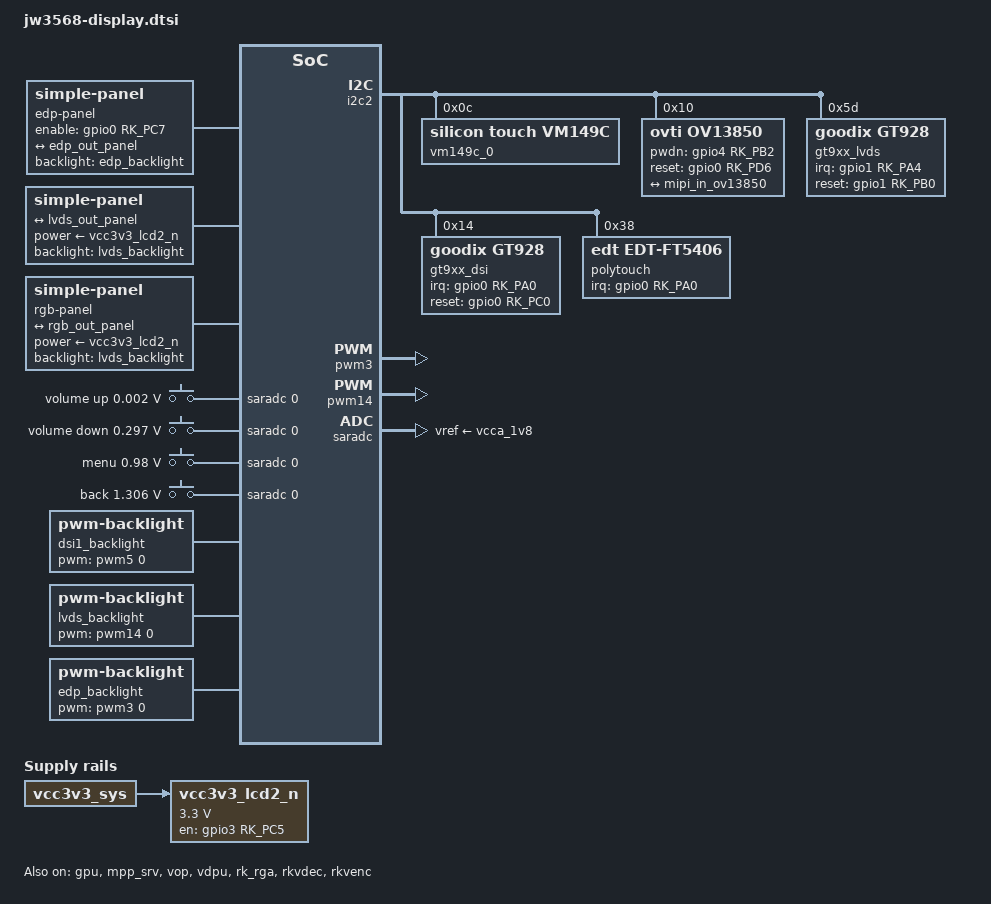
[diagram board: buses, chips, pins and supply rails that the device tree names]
/{
	vcc3v3_lcd2_n: vcc3v3-lcd2-n {
		compatible = "regulator-fixed";
		regulator-name = "vcc3v3_lcd2_n";
		regulator-boot-on;
		regulator-min-microvolt = <3300000>;
		regulator-max-microvolt = <3300000>;
		enable-active-high;
		gpio = <&gpio3 RK_PC5 GPIO_ACTIVE_HIGH>;
		vin-supply = <&vcc3v3_sys>;
		
		regulator-state-mem {
			regulator-off-in-suspend;
		};
	};

	forlinx_control {
		status = "disabled";
		video-hdmi = "hdmi";
		video-mipi-edp = "mipi";
		video-lvds-rgb = "lvds";
	};

	edp-panel {
		compatible = "simple-panel";
		prepare-delay-ms = <120>;
		enable-delay-ms = <120>;
		unprepare-delay-ms = <120>;
		disable-delay-ms = <120>;
		backlight = <&edp_backlight>;
		enable-gpios = <&gpio0 RK_PC7 GPIO_ACTIVE_HIGH>;

		port {
			panel_in_edp: endpoint {
				remote-endpoint = <&edp_out_panel>;
			};
		};
	};

	panel {
		compatible = "simple-panel";
		backlight = <&lvds_backlight>;
		power-supply = <&vcc3v3_lcd2_n>;
		enable-delay-ms = <20>;
		prepare-delay-ms = <20>;
		unprepare-delay-ms = <20>;
		disable-delay-ms = <20>;
		bus-format = <MEDIA_BUS_FMT_RGB888_1X7X4_SPWG>;
		width-mm = <152>;
		height-mm = <91>;

		display-timings {
			native-mode = <&timing0>;

			timing0: timing0 {
				clock-frequency = <71000000>;
				hactive = <1280>;
				vactive = <800>;
				hback-porch = <10>;
				hfront-porch = <140>;
				vback-porch = <1>;
				vfront-porch = <2>;
				hsync-len = <10>;
				vsync-len = <20>;
				hsync-active = <0>;
				vsync-active = <1>;
				de-active = <1>;
				pixelclk-active = <0>;
			};
		};

		ports {
			#address-cells = <1>;
			#size-cells = <0>;

			port@0 {
				reg = <0>;
				dual-lvds-even-pixels;
				panel_in_lvds: endpoint {
					remote-endpoint = <&lvds_out_panel>;
				};
			};
		};
	};

	rgb-panel {
                compatible = "simple-panel";
                backlight = <&lvds_backlight>;
                power-supply = <&vcc3v3_lcd2_n>;
                bus-format = <MEDIA_BUS_FMT_RGB888_1X7X4_SPWG>;

                display-timings {
                        native-mode = <&timing1>;

                        timing1: timing1 {
                               clock-frequency = <51200000>;
                               hactive = <1024>;
                               vactive = <600>;
                               hfront-porch = <160>;
                               hback-porch = <320>;
                               hsync-len = <1>;
                               vback-porch = <35>;
                               vfront-porch = <12>;
                               vsync-len = <1>;
                               hsync-active = <0>;
                               vsync-active = <0>;
                               de-active = <1>;
                               pixelclk-active = <1>;
                        };
                };

                ports {
                        #address-cells = <1>;
                        #size-cells = <0>;

                        port@0 {
                                reg = <0>;
                                panel_in_rgb: endpoint {
                                        remote-endpoint = <&rgb_out_panel>;
                                };
                        };

                };
        };

	adc_keys: adc-keys {
		compatible = "adc-keys";
		io-channels = <&saradc 0>;
		io-channel-names = "buttons";
		keyup-threshold-microvolt = <1800000>;
		poll-interval = <100>;

		vol-up-key {
			label = "volume up";
			linux,code = <KEY_VOLUMEUP>;
			press-threshold-microvolt = <1750>;
		};

		vol-down-key {
			label = "volume down";
			linux,code = <KEY_VOLUMEDOWN>;
			press-threshold-microvolt = <297500>;
		};

		menu-key {
			label = "menu";
			linux,code = <KEY_MENU>;
			press-threshold-microvolt = <980000>;
		};

		back-key {
			label = "back";
			linux,code = <KEY_BACK>;
			press-threshold-microvolt = <1305500>;
		};
	};

	rk_headset: rk-headset {
		status = "disabled";
		compatible = "rockchip_headset";
		headset_gpio = <&gpio4 RK_PD2 GPIO_ACTIVE_HIGH>;
		pinctrl-names = "default";
		pinctrl-0 = <&hp_det>;
		io-channels = <&saradc 2>;
	};

	dsi1_backlight: dsi1-backlight {
		compatible = "pwm-backlight";
		pwms = <&pwm5 0 20000 0>;
		brightness-levels = <
			  0  20  20  21  21  22  22  23
			 23  24  24  25  25  26  26  27
			 27  28  28  29  29  30  30  31
			 31  32  32  33  33  34  34  35
			 35  36  36  37  37  38  38  39
			 40  41  42  43  44  45  46  47
			 48  49  50  51  52  53  54  55
			 56  57  58  59  60  61  62  63
			 64  65  66  67  68  69  70  71
			 72  73  74  75  76  77  78  79
			 80  81  82  83  84  85  86  87
			 88  89  90  91  92  93  94  95
			 96  97  98  99 100 101 102 103
			104 105 106 107 108 109 110 111
			112 113 114 115 116 117 118 119
			120 121 122 123 124 125 126 127
			128 129 130 131 132 133 134 135
			136 137 138 139 140 141 142 143
			144 145 146 147 148 149 150 151
			152 153 154 155 156 157 158 159
			160 161 162 163 164 165 166 167
			168 169 170 171 172 173 174 175
			176 177 178 179 180 181 182 183
			184 185 186 187 188 189 190 191
			192 193 194 195 196 197 198 199
			200 201 202 203 204 205 206 207
			208 209 210 211 212 213 214 215
			216 217 218 219 220 221 222 223
			224 225 226 227 228 229 230 231
			232 233 234 235 236 237 238 239
			240 241 242 243 244 245 246 247
			248 249 250 251 252 253 254 255
		>;
		default-brightness-level = <200>;
		is-forlinx;
	};

	lvds_backlight: lvds-backlight {
		compatible = "pwm-backlight";
		pwms = <&pwm14 0 20000 0>;
		brightness-levels = <
			  0  20  20  21  21  22  22  23
			 23  24  24  25  25  26  26  27
			 27  28  28  29  29  30  30  31
			 31  32  32  33  33  34  34  35
			 35  36  36  37  37  38  38  39
			 40  41  42  43  44  45  46  47
			 48  49  50  51  52  53  54  55
			 56  57  58  59  60  61  62  63
			 64  65  66  67  68  69  70  71
			 72  73  74  75  76  77  78  79
			 80  81  82  83  84  85  86  87
			 88  89  90  91  92  93  94  95
			 96  97  98  99 100 101 102 103
			104 105 106 107 108 109 110 111
			112 113 114 115 116 117 118 119
			120 121 122 123 124 125 126 127
			128 129 130 131 132 133 134 135
			136 137 138 139 140 141 142 143
			144 145 146 147 148 149 150 151
			152 153 154 155 156 157 158 159
			160 161 162 163 164 165 166 167
			168 169 170 171 172 173 174 175
			176 177 178 179 180 181 182 183
			184 185 186 187 188 189 190 191
			192 193 194 195 196 197 198 199
			200 201 202 203 204 205 206 207
			208 209 210 211 212 213 214 215
			216 217 218 219 220 221 222 223
			224 225 226 227 228 229 230 231
			232 233 234 235 236 237 238 239
			240 241 242 243 244 245 246 247
			248 249 250 251 252 253 254 255
		>;
		default-brightness-level = <200>;
		is-forlinx;
	};

	edp_backlight: edp-backlight {
		compatible = "pwm-backlight";
		pwms = <&pwm3 0 20000 0>;
		brightness-levels = <
			  0  20  20  21  21  22  22  23
			 23  24  24  25  25  26  26  27
			 27  28  28  29  29  30  30  31
			 31  32  32  33  33  34  34  35
			 35  36  36  37  37  38  38  39
			 40  41  42  43  44  45  46  47
			 48  49  50  51  52  53  54  55
			 56  57  58  59  60  61  62  63
			 64  65  66  67  68  69  70  71
			 72  73  74  75  76  77  78  79
			 80  81  82  83  84  85  86  87
			 88  89  90  91  92  93  94  95
			 96  97  98  99 100 101 102 103
			104 105 106 107 108 109 110 111
			112 113 114 115 116 117 118 119
			120 121 122 123 124 125 126 127
			128 129 130 131 132 133 134 135
			136 137 138 139 140 141 142 143
			144 145 146 147 148 149 150 151
			152 153 154 155 156 157 158 159
			160 161 162 163 164 165 166 167
			168 169 170 171 172 173 174 175
			176 177 178 179 180 181 182 183
			184 185 186 187 188 189 190 191
			192 193 194 195 196 197 198 199
			200 201 202 203 204 205 206 207
			208 209 210 211 212 213 214 215
			216 217 218 219 220 221 222 223
			224 225 226 227 228 229 230 231
			232 233 234 235 236 237 238 239
			240 241 242 243 244 245 246 247
			248 249 250 251 252 253 254 255
		>;
		default-brightness-level = <200>;
	};
};

&csi2_dphy_hw {
	status = "diabled";
};

&csi2_dphy0 {
	status = "diabled";

	ports {
		#address-cells = <1>;
		#size-cells = <0>;
		port@0 {
			reg = <0>;
			#address-cells = <1>;
			#size-cells = <0>;

			mipi_in_ov13850: endpoint@1 {
				reg = <1>;
				remote-endpoint = <&ov13850_out>;
				data-lanes = <1 2>;
			};
		};
		port@1 {
			reg = <1>;
			#address-cells = <1>;
			#size-cells = <0>;

			csidphy_out: endpoint@0 {
				reg = <0>;
				remote-endpoint = <&isp0_in>;
			};
		};
	};
};

&video_phy0 {
	status = "diabled";
};

&video_phy1 {
	status = "diabled";
};

&edp {
	status = "disabled";
	pinctrl-names = "default";
	pinctrl-0 = <&edpdpm0_pins>;

	ports {
		port@1 {
			reg = <1>;

			edp_out_panel: endpoint {
				remote-endpoint = <&panel_in_edp>;
			};
		};
	};
};

&edp_phy {
	status = "disabled";
};

&edp_in_vp0 {
	status = "disabled";
};

&edp_in_vp1 {
	status = "disabled";
};

&route_edp {
	status = "disabled";
	connect = <&vp1_out_edp>;
};
&route_dsi1 {
	status = "disabled";
	connect = <&vp1_out_dsi1>;
};

&dsi1_in_vp0 {
	status = "disabled";
};

&dsi1_in_vp1 {
	status = "disabled";
};

&dsi1 {
	status = "disabled";
	//rockchip,lane-rate = <1000>;
	dsi1_panel: panel@0 {
		status = "disabled";
		compatible = "simple-panel-dsi";
		reg = <0>;
		reset-delay-ms = <60>;
		enable-delay-ms = <60>;
		prepare-delay-ms = <60>;
		unprepare-delay-ms = <60>;
		disable-delay-ms = <60>;
		dsi,flags = <(MIPI_DSI_MODE_VIDEO | MIPI_DSI_MODE_VIDEO_BURST |
			MIPI_DSI_MODE_LPM | MIPI_DSI_MODE_EOT_PACKET)>;
		dsi,format = <MIPI_DSI_FMT_RGB888>;
		dsi,lanes  = <4>;
		panel-init-sequence = [
		];

		panel-exit-sequence = [
		];

		panel-width-mm = <68>;
        panel-height-mm = <121>;
        backlight = <&dsi1_backlight>;
		enable-gpios = <&gpio0 RK_PB0 GPIO_ACTIVE_HIGH>;

        display-timings {
			native-mode = <&panel7_1024x600>;
            panel7_1024x600: timings {
                hback-porch     = <48>;
                hfront-porch    = <40>;
                hactive                 = <1024>;
                hsync-len               = <48>;
                vback-porch     = <48>;
                vfront-porch    = <40>;
                vactive         = <600>;
                vsync-len       = <4>;
                clock-frequency = <45000000>;
                vsync-active    = <0>;
                hsync-active    = <0>;
                de-active       = <0>;
                pixelclk-active = <0>;
            };
        };

		ports {
			#address-cells = <1>;
			#size-cells = <0>;

			port@0 {
				reg = <0>;
				panel_in_dsi: endpoint {
					remote-endpoint = <&dsi_out_panel>;
				};
			};
		};
	};

	ports {
		#address-cells = <1>;
		#size-cells = <0>;

		port@1 {
			reg = <1>;
			dsi_out_panel: endpoint {
				remote-endpoint = <&panel_in_dsi>;
			};
		};
	};

};

&hdmi {
	status = "disabled";
	rockchip,phy-table =
		<92812500  0x8009 0x0000 0x0270>,
		<165000000 0x800b 0x0000 0x026d>,
		<185625000 0x800b 0x0000 0x01ed>,
		<297000000 0x800b 0x0000 0x01ad>,
		<594000000 0x8029 0x0000 0x0088>,
		<000000000 0x0000 0x0000 0x0000>;
};

&hdmi_in_vp0 {
	status = "disabled";
};

&hdmi_in_vp1 {
	status = "disabled";
};

&route_hdmi {
	status = "disabled";
	connect = <&vp0_out_hdmi>;
};

&lvds {
	status = "disabled";
	phys = <&video_phy0>;
	phy-names = "phy";

	ports {
		port@1 {
			reg = <1>;

			lvds_out_panel: endpoint {
				remote-endpoint = <&panel_in_lvds>;
			};
		};
	};
};

&lvds_in_vp1 {
	status = "disabled";
};

&lvds_in_vp2 {
	status = "disabled";
};

&route_lvds {
	status = "disabled";
	connect = <&vp2_out_lvds>;
};

&rgb {
        status = "disabled";
	phys = <&video_phy1>;
	phy-names = "phy";

        ports {
                port@1 {
                        reg = <1>;
                        rgb_out_panel: endpoint {
                                remote-endpoint = <&panel_in_rgb>;
                        };
                };
        };
};

&rgb_in_vp2 {
        status = "disabled";
};

&route_rgb {
        status = "disabled";
        connect = <&vp2_out_rgb>;
};

// for display panel controller of epd, mipi, lvds etc.
&i2c2 {
	status = "okay";
	pinctrl-names = "default";
	pinctrl-0 = <&i2c2m1_xfer>;

	vm149c_0: vm149c@0c {
		compatible = "silicon touch,vm149c";
		status = "okay";
		reg = <0x0c>;
		rockchip,camera-module-index = <0>;
		rockchip,camera-module-facing = "back";
	};

	ov13850: ov13850@10 {
		compatible = "ovti,ov13850";
		status = "okay";
		reg = <0x10>;
		clocks = <&cru CLK_CIF_OUT>;
		clock-names = "xvclk";
		power-domains = <&power RK3568_PD_VI>;
		pinctrl-names = "default";
		pinctrl-0 = <&cif_clk>, <&ov13850_default_pin>;
		pwdn-gpios = <&gpio4 RK_PB2 GPIO_ACTIVE_HIGH>;
		reset-gpios = <&gpio0 RK_PD6 GPIO_ACTIVE_HIGH>;
		rockchip,camera-module-index = <0>;
		rockchip,camera-module-facing = "back";
		rockchip,camera-module-name = "ov13850-csi";
		rockchip,camera-module-lens-name = "ov13850-2mp";
		lens-focus = <&vm149c_0>;

		port {
			ov13850_out: endpoint {
				remote-endpoint = <&mipi_in_ov13850>;
				data-lanes = <1 2>;
			};
		};
	};

	gt9xx_lvds: gt9xx@5d {
		compatible = "goodix,gt928";
		reg = <0x5d>;
		pinctrl-names = "default";
		pinctrl-0 = <&touch_gpio>;
		interrupt-parent = <&gpio1>;
		interrupts = <RK_PA4 IRQ_TYPE_EDGE_FALLING>;
		irq-gpio = <&gpio1 RK_PA4 IRQ_TYPE_LEVEL_LOW>;
		reset-gpio = <&gpio1 RK_PB0 GPIO_ACTIVE_HIGH>;
		touchscreen-size-x = <1280>;
		touchscreen-size-y = <800>;
		touchscreen-swapped-x-y;
		uniq = "lvds";
		status = "okay";
	};

	gt9xx_rgb: gt9xx-rgb@5d {
		compatible = "goodix,gt928";
		reg = <0x5d>;
		pinctrl-names = "default";
		pinctrl-0 = <&rgb_touch_gpio>;
		interrupt-parent = <&gpio4>;
		interrupts = <RK_PC6 IRQ_TYPE_EDGE_FALLING>;
		irq-gpio = <&gpio4 RK_PC6 IRQ_TYPE_LEVEL_LOW>;
		reset-gpio = <&gpio4 RK_PC5 GPIO_ACTIVE_HIGH>;
		touchscreen-size-x = <800>;
		touchscreen-size-y = <480>;
		touchscreen-inverted-x;
		touchscreen-inverted-y;
		uniq = "rgb";
		status = "disabled";
	};

	gt9xx_dsi: gt9xx@14 {
		compatible = "goodix,gt928";
		reg = <0x14>;
		pinctrl-names = "default";
		pinctrl-0 = <&dsi_gt911_int>;
		interrupt-parent = <&gpio0>;
		interrupts = <RK_PA0 IRQ_TYPE_EDGE_FALLING>;
		irq-gpio = <&gpio0 RK_PA0 GPIO_ACTIVE_HIGH>;
		reset-gpio = <&gpio0 RK_PC0 GPIO_ACTIVE_HIGH>;
		touchscreen-size-x = <1024>;
		touchscreen-size-y = <600>;
		uniq = "dsi";
		status = "okay";
	};

	polytouch: edt-ft5x06@38{
		compatible = "edt,edt-ft5406", "edt,edt-ft5x06";
		reg = <0x38>;
		pinctrl-names = "defaults";
		pinctrl-0 = <&ft5x06_int>;
		interrupt-parent = <&gpio0>;
		interrupts = <RK_PA0 IRQ_TYPE_EDGE_FALLING>;
		touchscreen-size-x = <1024>;
		touchscreen-size-y = <600>;
		status = "okay";
	};
};

&gpu {
	mali-supply = <&vdd_gpu>;
	status = "okay";
};

&mpp_srv {
	status = "okay";
};

&pinctrl {
 	touch {
 		touch_gpio: touch-gpio {
 			rockchip,pins =
				<1 RK_PA4 RK_FUNC_GPIO &pcfg_pull_up>,
				<1 RK_PB0 RK_FUNC_GPIO &pcfg_pull_none>;
		};

		rgb_touch_gpio: rgb-touch-gpio {
			rockchip,pins =
				<4 RK_PC6 RK_FUNC_GPIO &pcfg_pull_up>,
				<4 RK_PC5 RK_FUNC_GPIO &pcfg_pull_none>;
		};

		ft5x06_int: ft5x06-int {
			rockchip,pins = <0 RK_PA0 RK_FUNC_GPIO &pcfg_pull_up>,
							<0 RK_PC0 RK_FUNC_GPIO &pcfg_pull_up>;
 		};

		dsi_gt911_int: dsi-gt911-int {
			rockchip,pins = <0 RK_PA0 RK_FUNC_GPIO &pcfg_pull_up>,
							<0 RK_PC0 RK_FUNC_GPIO &pcfg_pull_up>;
 		};
 	};

	cam {
		ov13850_default_pin: ov13850-default-pin {
			rockchip,pins =
				<4 RK_PB2 RK_FUNC_GPIO &pcfg_pull_none>,
				<0 RK_PD6 RK_FUNC_GPIO &pcfg_pull_none>;
		};
	};
};

&vop {
	status = "okay";
	assigned-clocks = <&cru DCLK_VOP0>, <&cru DCLK_VOP1>, <&cru DCLK_VOP2>;
	assigned-clock-parents = <&pmucru PLL_HPLL>, <&cru PLL_VPLL>, <&cru PLL_GPLL>;
	disable-win-move;
};

&vop_mmu {
	status = "okay";
};

&vp0 {
	cursor-win-id = <ROCKCHIP_VOP2_CLUSTER0>;
};

&vp1 {
	cursor-win-id = <ROCKCHIP_VOP2_CLUSTER1>;
};

&vdpu {
	status = "okay";
};

&vdpu_mmu {
	status = "okay";
};

&rk_rga {
	status = "okay";
};

&rkvdec {
	status = "okay";
};

&rkvdec_mmu {
	status = "okay";
};

&rkvenc {
	venc-supply = <&vdd_logic>;
	status = "okay";
};

&rkvenc_mmu {
	status = "okay";
};

// for edp
&pwm3 {
	status = "okay";
};

// for lvds
&pwm14 {
	status = "okay";
};

// for adc keys
&saradc {
	status = "okay";
	vref-supply = <&vcca_1v8>;
};
